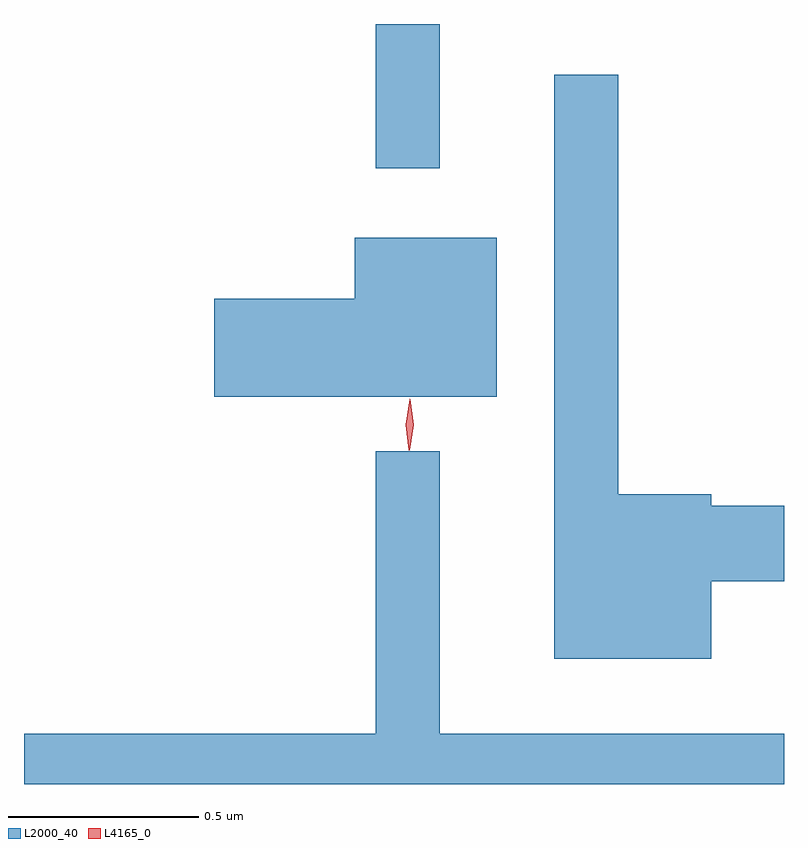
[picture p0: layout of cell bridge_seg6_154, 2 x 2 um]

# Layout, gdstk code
import gdstk
lib = gdstk.Library(unit=1e-6, precision=1e-09)
def R(c, l, rs):  # rectangles x0, y0, x1, y1
    for r in rs: c.add(gdstk.rectangle(r[:2], r[2:], *l))
def P(c, l, *ps):  # polygons
    for p in ps: c.add(gdstk.Polygon(p, *l))
L2000_40 = (2000, 40)
L4165_0 = (4165, 0)

bridge_seg6_154 = lib.new_cell('bridge_seg6_154')
R(bridge_seg6_154, L2000_40, [(1132.211,1578.433,1132.379,1578.812)])
P(bridge_seg6_154, L2000_40, [(1133.094,1577.346),(1133.285,1577.346),(1133.285,1577.544),(1133.094,1577.544),(1133.094,1577.574),(1132.849,1577.574),(1132.849,1578.678),(1132.681,1578.678),(1132.681,1577.141),(1133.094,1577.141)],
  [(1132.529,1578.249),(1132.156,1578.249),(1132.156,1578.089),(1131.786,1578.089),(1131.786,1577.831),(1132.529,1577.831)],
  [(1133.285,1576.944),(1132.379,1576.944),(1132.379,1577.688),(1132.211,1577.688),(1132.211,1576.944),(1131.285,1576.944),(1131.285,1576.812),(1133.285,1576.812)])
P(bridge_seg6_154, L4165_0, [(1132.298,1577.69),(1132.29,1577.758),(1132.3,1577.825),(1132.3,1577.826),(1132.301,1577.825),(1132.31,1577.758),(1132.3,1577.69),(1132.299,1577.69)],
  [(1132.299,1577.693),(1132.298,1577.694),(1132.29,1577.756),(1132.3,1577.819),(1132.301,1577.82),(1132.301,1577.819),(1132.31,1577.756),(1132.3,1577.694)])

lib.write_gds('bridge_seg6_154.gds')
